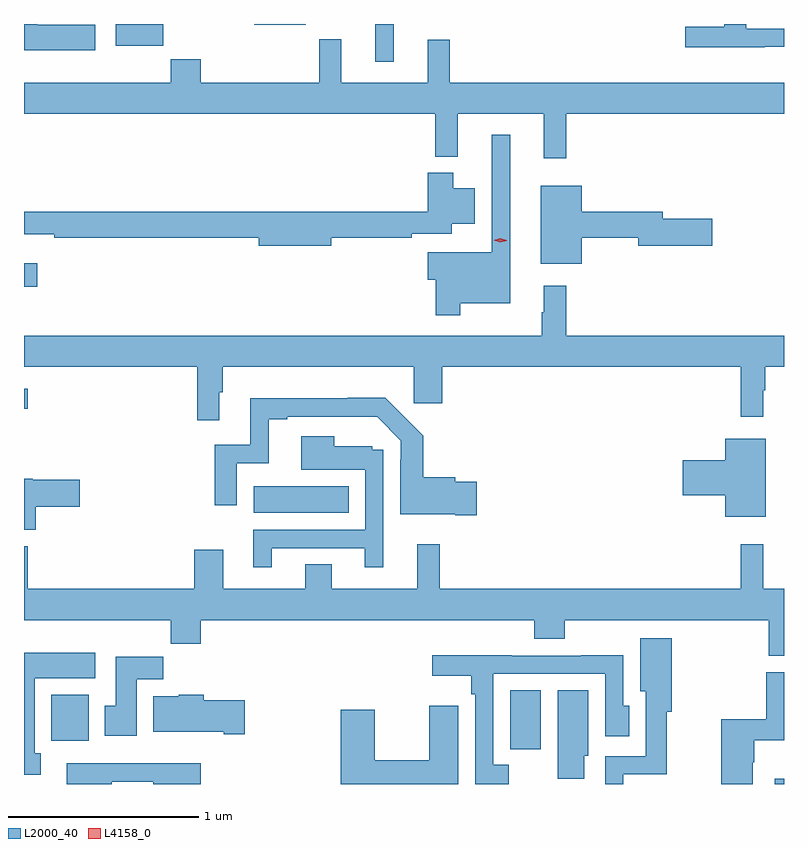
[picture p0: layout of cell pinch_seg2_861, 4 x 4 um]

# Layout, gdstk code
import gdstk
lib = gdstk.Library(unit=1e-6, precision=1e-09)
def R(c, l, rs):  # rectangles x0, y0, x1, y1
    for r in rs: c.add(gdstk.rectangle(r[:2], r[2:], *l))
def P(c, l, *ps):  # polygons
    for p in ps: c.add(gdstk.Polygon(p, *l))
L2000_40 = (2000, 40)
L4158_0 = (4158, 0)

pinch_seg2_861 = lib.new_cell('pinch_seg2_861')
R(pinch_seg2_861, L2000_40, [(497.508,589.497,497.556,589.525), (496.115,589.68,496.276,589.991), (493.7,589.724,493.897,589.966), (494.766,590.924,495.266,591.064), (493.556,591.473,493.577,591.577), (493.556,592.115,493.627,592.237), (495.404,593.298,495.501,593.497), (494.039,593.382,494.288,593.497), (494.768,593.494,495.038,593.497)])
P(pinch_seg2_861, L2000_40, [(493.93,593.494),(493.626,593.494),(493.626,593.497),(493.556,593.497),(493.556,593.36),(493.93,593.36)],
  [(497.455,593.376),(497.556,593.376),(497.556,593.472),(497.358,593.472),(497.358,593.497),(497.242,593.497),(497.242,593.482),(497.037,593.482),(497.037,593.375),(497.455,593.375)],
  [(496.409,593.024),(497.556,593.024),(497.556,593.188),(495.797,593.188),(495.797,593.413),(495.68,593.413),(495.68,593.188),(495.227,593.188),(495.227,593.416),(495.109,593.416),(495.109,593.188),(494.486,593.188),(494.486,593.312),(494.329,593.312),(494.329,593.188),(493.556,593.188),(493.556,593.024),(495.721,593.024),(495.721,592.799),(495.839,592.799),(495.839,593.024),(496.292,593.024),(496.292,592.791),(496.409,592.791)],
  [(495.853,592.028),(496.114,592.028),(496.114,592.915),(496.017,592.915),(496.017,592.297),(495.68,592.297),(495.68,592.15),(495.724,592.15),(495.724,591.963),(495.853,591.963)],
  [(495.172,592.372),(495.596,592.372),(495.596,592.392),(495.808,592.392),(495.808,592.445),(495.928,592.445),(495.928,592.633),(495.814,592.633),(495.814,592.714),(495.68,592.714),(495.68,592.508),(493.556,592.508),(493.556,592.391),(493.714,592.391),(493.714,592.372),(494.792,592.372),(494.792,592.33),(495.172,592.33)],
  [(496.492,592.372),(496.79,592.372),(496.79,592.33),(497.179,592.33),(497.179,592.472),(496.918,592.472),(496.918,592.508),(496.492,592.508),(496.492,592.645),(496.277,592.645),(496.277,592.235),(496.492,592.235)],
  [(494.584,591.56),(494.603,591.56),(494.603,591.692),(495.607,591.692),(495.607,591.501),(495.758,591.501),(495.758,591.692),(497.329,591.692),(497.329,591.429),(497.446,591.429),(497.446,591.569),(497.458,591.569),(497.458,591.692),(497.556,591.692),(497.556,591.856),(496.409,591.856),(496.409,592.12),(496.292,592.12),(496.292,591.98),(496.281,591.98),(496.281,591.856),(493.556,591.856),(493.556,591.692),(494.467,591.692),(494.467,591.411),(494.584,591.411)],
  [(495.94,591.089),(495.826,591.089),(495.826,591.112),(495.656,591.112),(495.656,591.331),(495.458,591.529),(495.259,591.529),(495.259,591.526),(494.747,591.526),(494.747,591.282),(494.56,591.282),(494.56,590.964),(494.676,590.964),(494.676,591.186),(494.845,591.186),(494.845,591.417),(494.941,591.417),(494.941,591.429),(495.415,591.429),(495.54,591.303),(495.54,591.203),(495.537,591.203),(495.537,590.918),(495.827,590.918),(495.827,590.911),(495.94,590.911)],
  [(494.86,590.739),(495.35,590.739),(495.35,590.637),(495.447,590.637),(495.447,591.255),(495.39,591.255),(495.39,591.274),(495.19,591.274),(495.19,591.328),(495.014,591.328),(495.014,591.152),(495.351,591.152),(495.351,590.835),(494.762,590.835),(494.762,590.637),(494.86,590.637)],
  [(497.461,591.313),(497.246,591.313),(497.246,591.2),(497.022,591.2),(497.022,591.017),(497.246,591.017),(497.246,590.903),(497.461,590.903)],
  [(493.619,590.956),(493.849,590.956),(493.849,591.098),(493.602,591.098),(493.602,591.103),(493.556,591.103),(493.556,590.834),(493.619,590.834)],
  [(497.556,590.524),(497.447,590.524),(497.447,590.758),(497.329,590.758),(497.329,590.524),(495.743,590.524),(495.743,590.758),(495.626,590.758),(495.626,590.524),(495.175,590.524),(495.175,590.654),(495.035,590.654),(495.035,590.524),(494.605,590.524),(494.605,590.731),(494.453,590.731),(494.453,590.524),(493.577,590.524),(493.577,590.749),(493.556,590.749),(493.556,590.36),(494.329,590.36),(494.329,590.236),(494.486,590.236),(494.486,590.36),(496.241,590.36),(496.241,590.261),(496.401,590.261),(496.401,590.36),(497.477,590.36),(497.477,590.171),(497.556,590.171)],
  [(496.71,589.548),(496.94,589.548),(496.94,589.878),(496.964,589.878),(496.964,590.263),(496.799,590.263),(496.799,589.985),(496.829,589.985),(496.829,589.644),(496.614,589.644),(496.614,589.497),(496.71,589.497)],
  [(493.645,589.658),(493.612,589.658),(493.612,590.054),(493.93,590.054),(493.93,590.188),(493.556,590.188),(493.556,589.545),(493.645,589.545)],
  [(496.108,589.599),(496.026,589.599),(496.026,590.076),(496.614,590.076),(496.614,589.749),(496.741,589.749),(496.741,589.908),(496.71,589.908),(496.71,590.174),(496.489,590.174),(496.489,590.172),(496.123,590.172),(496.123,590.174),(495.705,590.174),(495.705,590.066),(495.91,590.066),(495.91,589.97),(495.93,589.97),(495.93,589.497),(496.108,589.497)],
  [(494.149,590.048),(494.288,590.048),(494.288,590.167),(494.039,590.167),(494.039,589.908),(493.982,589.908),(493.982,589.752),(494.149,589.752)],
  [(497.392,589.612),(497.4,589.612),(497.4,589.727),(497.556,589.727),(497.556,590.086),(497.462,590.086),(497.462,589.837),(497.227,589.837),(497.227,589.497),(497.392,589.497)],
  [(496.504,589.647),(496.525,589.647),(496.525,589.991),(496.364,589.991),(496.364,589.524),(496.504,589.524)],
  [(494.719,589.938),(494.501,589.938),(494.501,589.966),(494.37,589.966),(494.37,589.96),(494.237,589.96),(494.237,589.772),(494.606,589.772),(494.606,589.76),(494.719,589.76)],
  [(495.841,589.909),(495.688,589.909),(495.688,589.622),(495.402,589.622),(495.402,589.888),(495.224,589.888),(495.224,589.497),(495.841,589.497)],
  [(494.017,589.509),(494.237,589.509),(494.237,589.497),(494.486,589.497),(494.486,589.606),(493.781,589.606),(493.781,589.497),(494.017,589.497)])
P(pinch_seg2_861, L4158_0, [(496.062,592.349),(496.028,592.36),(496.027,592.36),(496.028,592.36),(496.063,592.369),(496.098,592.358),(496.098,592.357),(496.098,592.357)])

lib.write_gds('pinch_seg2_861.gds')
